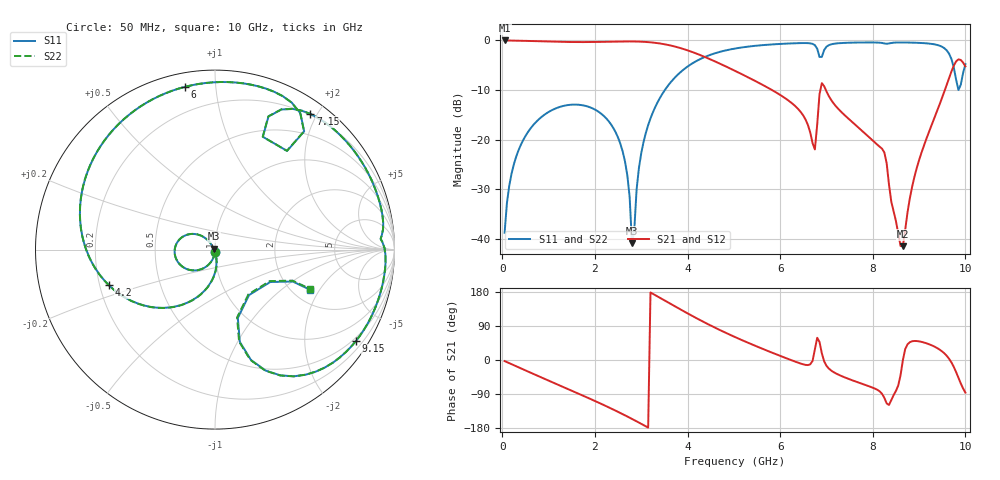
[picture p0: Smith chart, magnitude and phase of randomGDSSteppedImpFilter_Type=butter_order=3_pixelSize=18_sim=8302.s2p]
! freq	dB(S11)	phase(S11)	dB(S12)	phase(S12)
!  dB(S21)	phase(S21)	dB(S22)	phase(S22)
!S-par simulation data
#  GHz  S  DB  R 50
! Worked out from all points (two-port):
!   200 points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, 50 MHz to 10 GHz, reference 50 ohm
!   highest |S21| = 0.00 dB at 50 MHz (marker M1); lowest = -41.5 dB at 8.65 GHz (marker M2)
!   |S21| within 3 dB of the highest: start of sweep to 4.288 GHz
!   lowest |S11| = -40.9 dB at 2.8 GHz (marker M3), VSWR 1.02, Z = 49.3 + j0.527 ohm
!   |S11| at or under -10 dB: start of sweep to 3.511 GHz
!   |S22| runs from -41.3 to -0.4 dB; largest |S21 - S12| = 0
!   S11 on the Smith chart (normalised r, x): 50 MHz: 1.00, -0.02; 4.2 GHz: 0.24, -0.15; 6 GHz: 0.07, +0.83; 7.15 GHz: 0.18, +1.91; 9.15 GHz: 0.40, -3.33; 10 GHz: 2.47, -1.66
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0.05  -38.79 -92.4  -0.00 -2.8  -0.00 -2.8  -38.79 -92.4
0.2  -26.86 -101.1  -0.03 -11.1  -0.03 -11.1  -26.86 -101.1
0.5  -19.28 -117.9  -0.09 -27.5  -0.09 -27.5  -19.28 -117.9
1.75  -13.11 175.1  -0.33 -94.4  -0.33 -94.4  -13.11 175.0
2.55  -20.85 131.5  -0.21 -139.9  -0.21 -139.9  -20.86 131.1
2.7  -27.21 125.5  -0.20 -149.1  -0.20 -149.1  -27.23 124.5
2.8  -40.88 143.8  -0.20 -155.4  -0.20 -155.4  -41.28 139.2
3  -22.76 -83.3  -0.25 -168.4  -0.25 -168.4  -22.77 -82.5
3.4  -11.67 -107.7  -0.61 164.5  -0.61 164.5  -11.67 -107.4
4.2  -4.11 -161.4  -2.68 109.9  -2.68 109.9  -4.11 -161.3
5.05  -1.59 148.5  -6.24 59.2  -6.24 59.2  -1.59 148.6
6  -0.70 100.4  -10.99 10.9  -10.99 10.9  -0.70 100.4
6.7  -0.69 62.4  -20.71 -2.4  -20.71 -2.4  -0.69 62.5
6.9  -3.31 67.0  -8.62 17.8  -8.62 17.8  -3.32 67.1
7.15  -0.69 54.9  -12.65 -31.7  -12.65 -31.7  -0.69 54.9
8.2  -0.51 6.8  -21.83 -89.2  -21.83 -89.2  -0.51 6.8
8.35  -0.59 2.5  -29.05 -118.7  -29.05 -118.7  -0.60 2.5
8.65  -0.41 -10.5  -41.49 -0.3  -41.49 -0.3  -0.41 -10.5
9.15  -0.58 -33.0  -20.03 44.5  -20.03 44.5  -0.58 -33.1
9.75  -5.47 -74.9  -5.07 -18.4  -5.07 -18.4  -5.52 -75.3
9.85  -9.99 -53.2  -3.82 -47.0  -3.82 -47.0  -10.14 -53.2
10  -4.79 -22.9  -5.24 -86.1  -5.24 -86.1  -4.82 -22.5
